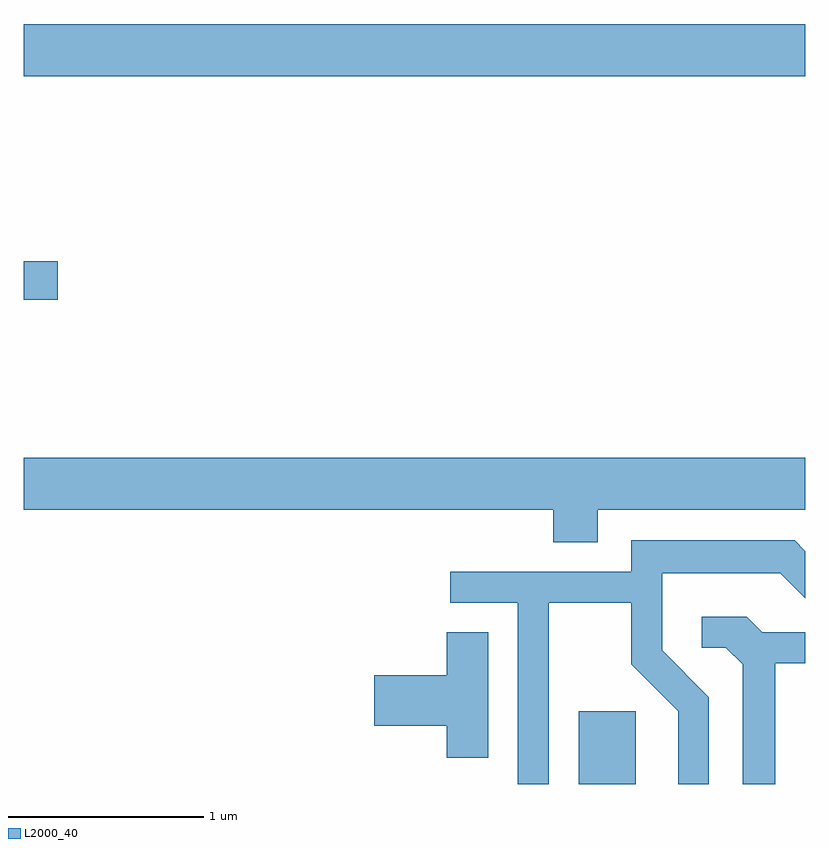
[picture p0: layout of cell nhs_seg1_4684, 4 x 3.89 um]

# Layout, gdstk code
import gdstk
lib = gdstk.Library(unit=1e-6, precision=1e-09)
def R(c, l, rs):  # rectangles x0, y0, x1, y1
    for r in rs: c.add(gdstk.rectangle(r[:2], r[2:], *l))
def P(c, l, *ps):  # polygons
    for p in ps: c.add(gdstk.Polygon(p, *l))
L2000_40 = (2000, 40)

nhs_seg1_4684 = lib.new_cell('nhs_seg1_4684')
R(nhs_seg1_4684, L2000_40, [(328.451,913.712,328.744,914.084), (325.611,916.191,325.784,916.389), (325.611,917.336,329.611,917.604)])
P(nhs_seg1_4684, L2000_40, [(328.549,915.116),(329.611,915.116),(329.611,915.384),(325.611,915.384),(325.611,915.116),(328.321,915.116),(328.321,914.951),(328.549,914.951)],
  [(328.299,914.641),(328.721,914.641),(328.721,914.324),(328.961,914.084),(328.961,913.712),(329.119,913.712),(329.119,914.157),(328.879,914.397),(328.879,914.791),(329.484,914.791),(329.611,914.664),(329.611,914.905),(329.557,914.959),(328.721,914.959),(328.721,914.799),(327.793,914.799),(327.793,914.641),(328.141,914.641),(328.141,913.712),(328.299,913.712)],
  [(329.459,914.331),(329.611,914.331),(329.611,914.489),(329.392,914.489),(329.312,914.569),(329.083,914.569),(329.083,914.411),(329.204,914.411),(329.291,914.324),(329.291,913.712),(329.459,913.712)],
  [(327.989,914.489),(327.776,914.489),(327.776,914.269),(327.406,914.269),(327.406,914.011),(327.776,914.011),(327.776,913.846),(327.989,913.846)])

lib.write_gds('nhs_seg1_4684.gds')
